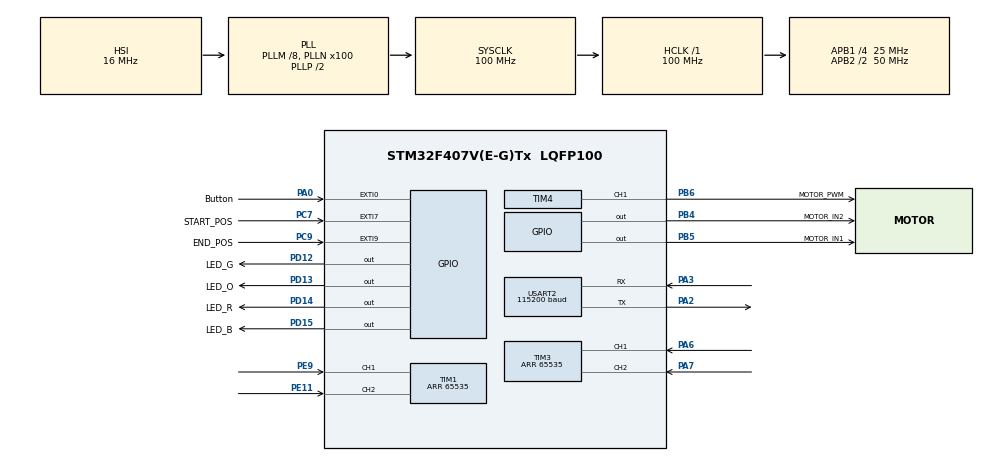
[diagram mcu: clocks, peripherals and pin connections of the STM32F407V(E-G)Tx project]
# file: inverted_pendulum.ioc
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Dma.Request0=TIM4_CH1
Dma.Request1=USART2_RX
Dma.Request2=USART2_TX
Dma.Request3=TIM3_CH4/UP
Dma.TIM3_CH4/UP.3.Direction=DMA_PERIPH_TO_MEMORY
Dma.TIM3_CH4/UP.3.FIFOMode=DMA_FIFOMODE_DISABLE
Dma.TIM3_CH4/UP.3.Instance=DMA1_Stream2
Dma.TIM3_CH4/UP.3.MemDataAlignment=DMA_MDATAALIGN_HALFWORD
Dma.TIM3_CH4/UP.3.MemInc=DMA_MINC_ENABLE
Dma.TIM3_CH4/UP.3.Mode=DMA_CIRCULAR
Dma.TIM3_CH4/UP.3.PeriphDataAlignment=DMA_PDATAALIGN_HALFWORD
Dma.TIM3_CH4/UP.3.PeriphInc=DMA_PINC_DISABLE
Dma.TIM3_CH4/UP.3.Priority=DMA_PRIORITY_VERY_HIGH
Dma.TIM4_CH1.0.Direction=DMA_MEMORY_TO_PERIPH
Dma.TIM4_CH1.0.FIFOMode=DMA_FIFOMODE_DISABLE
Dma.TIM4_CH1.0.Instance=DMA1_Stream0
Dma.TIM4_CH1.0.MemDataAlignment=DMA_MDATAALIGN_HALFWORD
Dma.TIM4_CH1.0.MemInc=DMA_MINC_ENABLE
Dma.TIM4_CH1.0.Mode=DMA_CIRCULAR
Dma.TIM4_CH1.0.PeriphDataAlignment=DMA_PDATAALIGN_HALFWORD
Dma.TIM4_CH1.0.PeriphInc=DMA_PINC_DISABLE
Dma.TIM4_CH1.0.Priority=DMA_PRIORITY_LOW
Dma.USART2_RX.1.Direction=DMA_PERIPH_TO_MEMORY
Dma.USART2_RX.1.FIFOMode=DMA_FIFOMODE_DISABLE
Dma.USART2_RX.1.Instance=DMA1_Stream5
Dma.USART2_RX.1.MemDataAlignment=DMA_MDATAALIGN_BYTE
Dma.USART2_RX.1.MemInc=DMA_MINC_ENABLE
Dma.USART2_RX.1.Mode=DMA_CIRCULAR
Dma.USART2_RX.1.PeriphDataAlignment=DMA_PDATAALIGN_BYTE
Dma.USART2_RX.1.PeriphInc=DMA_PINC_DISABLE
Dma.USART2_RX.1.Priority=DMA_PRIORITY_LOW
Dma.USART2_TX.2.Direction=DMA_MEMORY_TO_PERIPH
Dma.USART2_TX.2.FIFOMode=DMA_FIFOMODE_DISABLE
Dma.USART2_TX.2.Instance=DMA1_Stream6
Dma.USART2_TX.2.MemDataAlignment=DMA_MDATAALIGN_BYTE
Dma.USART2_TX.2.MemInc=DMA_MINC_ENABLE
Dma.USART2_TX.2.Mode=DMA_CIRCULAR
Dma.USART2_TX.2.PeriphDataAlignment=DMA_PDATAALIGN_BYTE
Dma.USART2_TX.2.PeriphInc=DMA_PINC_DISABLE
Dma.USART2_TX.2.Priority=DMA_PRIORITY_LOW
Mcu.Family=STM32F4
Mcu.Name=STM32F407V(E-G)Tx
Mcu.Package=LQFP100
NVIC.DMA1_Stream0_IRQn=true\:0\:0\:false\:false\:true\:false\:true
NVIC.DMA1_Stream2_IRQn=true\:0\:0\:false\:false\:true\:false\:true
NVIC.DMA1_Stream5_IRQn=true\:0\:0\:false\:false\:true\:false\:true
NVIC.DMA1_Stream6_IRQn=true\:0\:0\:false\:false\:true\:false\:true
NVIC.EXTI0_IRQn=true\:0\:0\:false\:false\:true\:true\:true
NVIC.EXTI9_5_IRQn=true\:0\:0\:false\:false\:true\:true\:true
NVIC.PriorityGroup=NVIC_PRIORITYGROUP_4
NVIC.TIM1_BRK_TIM9_IRQn=true\:0\:0\:false\:false\:true\:true\:true
NVIC.TIM1_TRG_COM_TIM11_IRQn=true\:0\:0\:false\:false\:true\:true\:true
NVIC.TIM1_UP_TIM10_IRQn=true\:0\:0\:false\:false\:true\:true\:true
NVIC.TIM4_IRQn=true\:0\:0\:false\:false\:true\:true\:true
NVIC.TIM6_DAC_IRQn=true\:0\:0\:false\:false\:true\:true\:true
NVIC.TIM8_UP_TIM13_IRQn=true\:0\:0\:false\:false\:true\:true\:true
NVIC.USART2_IRQn=true\:0\:0\:false\:false\:true\:true\:true
PA0-WKUP.GPIO_Label=Button
PA0-WKUP.GPIO_ModeDefaultEXTI=GPIO_MODE_IT_FALLING
PA0-WKUP.Signal=GPXTI0
PA2.Mode=Asynchronous
PA2.Signal=USART2_TX
PA3.Mode=Asynchronous
PA3.Signal=USART2_RX
PA6.GPIO_PuPd=GPIO_PULLUP
PA6.Signal=S_TIM3_CH1
PA7.GPIO_PuPd=GPIO_PULLUP
PA7.Signal=S_TIM3_CH2
PB4.GPIO_Label=MOTOR_IN2
PB4.Signal=GPIO_Output
PB5.GPIO_Label=MOTOR_IN1
PB5.Signal=GPIO_Output
PB6.GPIO_Label=MOTOR_PWM
PB6.GPIO_ModeDefaultPP=GPIO_MODE_AF_PP
PB6.Signal=S_TIM4_CH1
PC7.GPIO_Label=START_POS
PC7.GPIO_ModeDefaultEXTI=GPIO_MODE_IT_RISING
PC7.Signal=GPXTI7
PC9.GPIO_Label=END_POS
PC9.Signal=GPXTI9
PD12.GPIO_Label=LED_G
PD12.Signal=GPIO_Output
PD13.GPIO_Label=LED_O
PD13.Signal=GPIO_Output
PD14.GPIO_Label=LED_R
PD14.Signal=GPIO_Output
PD15.GPIO_Label=LED_B
PD15.Signal=GPIO_Output
PE11.Signal=S_TIM1_CH2
PE9.Signal=S_TIM1_CH1
PH0-OSC_IN.Mode=HSE-External-Oscillator
PH0-OSC_IN.Signal=RCC_OSC_IN
PH1-OSC_OUT.Mode=HSE-External-Oscillator
PH1-OSC_OUT.Signal=RCC_OSC_OUT
ProjectManager.HeapSize=0x200
ProjectManager.StackSize=0x400
ProjectManager.TargetToolchain=STM32CubeIDE
RCC.48MHZClocksFreq_Value=50000000
RCC.AHBFreq_Value=100000000
RCC.APB1CLKDivider=RCC_HCLK_DIV4
RCC.APB1Freq_Value=25000000
RCC.APB1TimFreq_Value=50000000
RCC.APB2CLKDivider=RCC_HCLK_DIV2
RCC.APB2Freq_Value=50000000
RCC.APB2TimFreq_Value=100000000
RCC.CortexFreq_Value=100000000
RCC.HCLKFreq_Value=100000000
RCC.HSE_VALUE=25000000
RCC.HSI_VALUE=16000000
RCC.LSE_VALUE=32768
RCC.PLLM=8
RCC.PLLN=100
RCC.SYSCLKFreq_VALUE=100000000
RCC.SYSCLKSource=RCC_SYSCLKSOURCE_PLLCLK
RCC.VCOOutputFreq_Value=200000000
SH.S_TIM1_CH1.0=TIM1_CH1,Encoder_Interface
SH.S_TIM1_CH2.0=TIM1_CH2,Encoder_Interface
SH.S_TIM3_CH1.0=TIM3_CH1,Encoder_Interface
SH.S_TIM3_CH2.0=TIM3_CH2,Encoder_Interface
SH.S_TIM4_CH1.0=TIM4_CH1,PWM Generation1 CH1
TIM1.EncoderMode=TIM_ENCODERMODE_TI12
TIM1.IC1Filter=0
TIM1.IC2Filter=0
TIM1.Period=65535
TIM10.Period=4999
TIM10.Prescaler=9999
TIM11.Period=4999
TIM11.Prescaler=999
TIM13.Period=49
TIM13.Prescaler=999
TIM3.EncoderMode=TIM_ENCODERMODE_TI12
TIM3.IC1Filter=15
TIM3.IC2Filter=15
TIM3.Period=65535
TIM4.Channel-PWM\ Generation1\ CH1=TIM_CHANNEL_1
TIM4.Period=99
TIM4.Prescaler=249
TIM6.Period=1999
TIM6.Prescaler=999
USART2.BaudRate=115200
USART2.VirtualMode=VM_ASYNC
VP_TIM10_VS_ClockSourceINT.Mode=Enable_Timer
VP_TIM11_VS_ClockSourceINT.Mode=Enable_Timer
VP_TIM13_VS_ClockSourceINT.Mode=Enable_Timer
VP_TIM4_VS_ClockSourceINT.Mode=Internal
VP_TIM6_VS_ClockSourceINT.Mode=Enable_Timer
board=custom

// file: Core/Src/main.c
/* USER CODE BEGIN Header */
/**
  ******************************************************************************
  * @file           : main.c
  * @brief          : Main program body
  ******************************************************************************
  * @attention
  *
  * <h2><center>&copy; Copyright (c) 2020 STMicroelectronics.
  * All rights reserved.</center></h2>
  *
  * This software component is licensed by ST under BSD 3-Clause license,
  * the "License"; You may not use this file except in compliance with the
  * License. You may obtain a copy of the License at:
  *                        opensource.org/licenses/BSD-3-Clause
  *
  ******************************************************************************
  */
/* USER CODE END Header */
#include "main.h"

/* USER CODE BEGIN Includes */
#include "pid.h"
#include "stdio.h"
#include "string.h"
/* USER CODE END Includes */

/* USER CODE BEGIN PD */
#define PI 3.14159265358979323846
#define POSITION_RATIO 64.0*19.0/25.7/PI
#define MAX_CART_POS 433
#define CART_SIZE 32

/* USER CODE END PD */

TIM_HandleTypeDef htim1;
TIM_HandleTypeDef htim3;
TIM_HandleTypeDef htim4;
TIM_HandleTypeDef htim6;
TIM_HandleTypeDef htim10;
TIM_HandleTypeDef htim11;
TIM_HandleTypeDef htim13;
DMA_HandleTypeDef hdma_tim3_ch4_up;
DMA_HandleTypeDef hdma_tim4_ch1;

UART_HandleTypeDef huart2;
DMA_HandleTypeDef hdma_usart2_rx;
DMA_HandleTypeDef hdma_usart2_tx;

/* USER CODE BEGIN PV */

uint8_t START_POSITION_FLAG = 0;
uint8_t END_POSITION_FLAG = 0;
uint8_t START_BALANCING = 0;
uint8_t LED_FLAG = 0;
uint8_t MOTOR_FLAG = 0;
uint8_t FLAG_READY = 0;
uint8_t MOTOR_PID_FLAG = 0;
uint8_t PWM_FLAG = 0;
uint8_t ERROR_FLAG = 0;
uint8_t PENDULUM_PID_FLAG = 0;

volatile int16_t pendulum_pulse_count = 0;
double alpha = 0;

volatile int16_t motor_pulse_count = 0;
volatile int16_t cart_position = 0;

uint32_t timer_1 = 0;
uint32_t timer_2 = 0;

uint16_t motor_pwm_duty = 0;
uint16_t cart_dest = 0;
uint16_t size = 0;

cpid_t motor_pid;
cpid_t pendulum_pid;

volatile int16_t motor_pid_controll = 0;
volatile int16_t pendulum_pid_controll = 0;
volatile int16_t pid_controll = 0;

double filter = 0;

int16_t prev_speed = 0;

double wsp1 = 0.5;

char buf[70] = {0};

int32_t pData1 = 0;
int32_t pData2 = 0;

/* USER CODE END PV */

void SystemClock_Config(void);
static void MX_GPIO_Init(void);
static void MX_DMA_Init(void);
static void MX_TIM4_Init(void);
static void MX_TIM1_Init(void);
static void MX_TIM3_Init(void);
static void MX_TIM10_Init(void);
static void MX_TIM11_Init(void);
static void MX_TIM13_Init(void);
static void MX_USART2_UART_Init(void);
static void MX_TIM6_Init(void);
/* USER CODE BEGIN PFP */

/* Interrupts */
void HAL_GPIO_EXTI_Callback(uint16_t GPIO_Pin){
	if(GPIO_Pin == START_POS_Pin){
		START_POSITION_FLAG=1;
	}
	else if(GPIO_Pin == END_POS_Pin){
		END_POSITION_FLAG=1;
	}
	else if(GPIO_Pin == Button_Pin){
		START_BALANCING = 1;
	}
}

void HAL_TIM_PeriodElapsedCallback(TIM_HandleTypeDef *htim){
	if(htim==&htim10){
		LED_FLAG = 1;
	}
//	else if(htim==&htim11){
//		MOTOR_PID_FLAG = 1;
//	}
	else if(htim==&htim13){
		PWM_FLAG = 1;
		PENDULUM_PID_FLAG = 1;
		MOTOR_PID_FLAG = 1;
	}
//	else if(htim==&htim6){
//		PENDULUM_PID_FLAG = 1;
//	}
}

void parse(){
	char header[2];
	double _p=0.0, _i=0.0, _d=0.0, _x=0.0, _y=0.0, _z=0.0;
	sscanf(buf, "%s %lf %lf %lf %lf %lf %lf", &header, &_p, &_i, &_d, &_x, &_y, &_z);
	if(!strcmp(header, "P")){
		if(_p>=0.0 && _p<=50.0) pendulum_pid.p = _p;
		if(_i>=0.0 && _i<=50.0) pendulum_pid.i = _i;
		if(_d>=0.0 && _d<=50.0) pendulum_pid.d = _d;
		if(_x>=0.0 && _x<=50.0) motor_pid.p = _x;
		if(_y>=0.0 && _y<=50.0) motor_pid.d = _y;
		if(_y>=0.0 && _y<=10.0) wsp1 = _z;
	}
	else if(!strcmp(header, "S")){
		TIM3->CNT = 0;
	}
}

void HAL_UART_RxCpltCallback(UART_HandleTypeDef *huart){
	uint16_t size = 0;
	uint8_t data[100];
	parse();
	size = sprintf(data, "{\"mp\":%.2f,\"mi\":%.2f,\"md\":%.2f,\"pp\":%.2f,\"pd\":%.2f,\"wsp\":%.2f}", pendulum_pid.p, pendulum_pid.i, pendulum_pid.d, motor_pid.p, motor_pid.d, wsp1);
	HAL_UART_Transmit_IT(&huart2, data, size);
	HAL_UART_Receive_IT(&huart2, &buf, 37);
}

uint16_t ramp(uint16_t dest){
	int16_t ramp_duty = 0;
	//if(dest > 0 && dest < 27 ) dest = 27;
	if(dest/5 == motor_pwm_duty/5) return motor_pwm_duty;
	else{
		if(dest > motor_pwm_duty){
			ramp_duty=motor_pwm_duty+5;
			if(ramp_duty>=100) return 100;
			else return ramp_duty;
		}
		else{
			ramp_duty=motor_pwm_duty-5;
			if(ramp_duty<=0) return 0;
			else return ramp_duty;
		}
	}
}

void motor_speed(int16_t speed){
	if(speed * prev_speed < 0)
		motor_pwm_duty=ramp(0);
	else{
		if(speed < 0){
			if(cart_position > 5){
				if(cart_position > 30){
					HAL_GPIO_WritePin(MOTOR_IN1_GPIO_Port, MOTOR_IN1_Pin, GPIO_PIN_RESET);
					HAL_GPIO_WritePin(MOTOR_IN2_GPIO_Port, MOTOR_IN2_Pin, GPIO_PIN_SET);
					motor_pwm_duty=ramp(-speed);
				}
				else{
					HAL_GPIO_WritePin(MOTOR_IN1_GPIO_Port, MOTOR_IN1_Pin, GPIO_PIN_SET);
					HAL_GPIO_WritePin(MOTOR_IN2_GPIO_Port, MOTOR_IN2_Pin, GPIO_PIN_SET);
					motor_pwm_duty=100;
				}
			}
			else{
				HAL_GPIO_WritePin(MOTOR_IN1_GPIO_Port, MOTOR_IN1_Pin, GPIO_PIN_RESET);
				HAL_GPIO_WritePin(MOTOR_IN2_GPIO_Port, MOTOR_IN2_Pin, GPIO_PIN_RESET);
				motor_pwm_duty = 100;
			}
		}
		else if(speed > 0){
			if(cart_position < 428){
				if(cart_position < 400){
					HAL_GPIO_WritePin(MOTOR_IN1_GPIO_Port, MOTOR_IN1_Pin, GPIO_PIN_SET);
					HAL_GPIO_WritePin(MOTOR_IN2_GPIO_Port, MOTOR_IN2_Pin, GPIO_PIN_RESET);
					motor_pwm_duty=ramp(speed);
				}
				else{
					HAL_GPIO_WritePin(MOTOR_IN1_GPIO_Port, MOTOR_IN1_Pin, GPIO_PIN_SET);
					HAL_GPIO_WritePin(MOTOR_IN2_GPIO_Port, MOTOR_IN2_Pin, GPIO_PIN_SET);
					motor_pwm_duty=100;
				}
			}
			else{
				HAL_GPIO_WritePin(MOTOR_IN1_GPIO_Port, MOTOR_IN1_Pin, GPIO_PIN_RESET);
				HAL_GPIO_WritePin(MOTOR_IN2_GPIO_Port, MOTOR_IN2_Pin, GPIO_PIN_RESET);
				motor_pwm_duty = 100;
			}
		}
		else{
			motor_pwm_duty = ramp(0);
		}
	}
	prev_speed = speed;
}

void motor_stop(){
	HAL_GPIO_WritePin(MOTOR_IN1_GPIO_Port, MOTOR_IN1_Pin, GPIO_PIN_RESET);
	HAL_GPIO_WritePin(MOTOR_IN2_GPIO_Port, MOTOR_IN2_Pin, GPIO_PIN_RESET);
	motor_pwm_duty=0;
}

void motor_init(){
	HAL_GPIO_WritePin(MOTOR_IN1_GPIO_Port, MOTOR_IN1_Pin, GPIO_PIN_SET);
	HAL_GPIO_WritePin(MOTOR_IN2_GPIO_Port, MOTOR_IN2_Pin, GPIO_PIN_RESET);
	motor_pwm_duty=60;
	HAL_Delay(100);
	HAL_GPIO_WritePin(MOTOR_IN1_GPIO_Port, MOTOR_IN1_Pin, GPIO_PIN_RESET);
	HAL_GPIO_WritePin(MOTOR_IN2_GPIO_Port, MOTOR_IN2_Pin, GPIO_PIN_SET);
	motor_pwm_duty=35;
}

/* USER CODE END PFP */

int main(void)
{

  /* MCU Configuration--------------------------------------------------------*/

  /* Reset of all peripherals, Initializes the Flash interface and the Systick. */
  HAL_Init();

  /* Configure the system clock */
  SystemClock_Config();

  /* Initialize all configured peripherals */
  MX_GPIO_Init();
  MX_DMA_Init();
  MX_TIM4_Init();
  MX_TIM1_Init();
  MX_TIM3_Init();
  MX_TIM10_Init();
  MX_TIM11_Init();
  MX_TIM13_Init();
  MX_USART2_UART_Init();
  MX_TIM6_Init();
  /* USER CODE BEGIN 2 */

  HAL_TIM_Encoder_Start(&htim1, TIM_CHANNEL_ALL);
  HAL_TIM_Encoder_Start(&htim3, TIM_CHANNEL_ALL);
  //HAL_TIM_Encoder_Start_DMA(&htim3, TIM_CHANNEL_ALL, pData1, pData2, 2);

  HAL_TIM_Base_Start_IT(&htim10);
  HAL_TIM_Base_Start_IT(&htim11);
  HAL_TIM_Base_Start_IT(&htim13);
  HAL_TIM_Base_Start_IT(&htim6);

  HAL_TIM_PWM_Start_DMA(&htim4, TIM_CHANNEL_1, &motor_pwm_duty, 1);

  motor_init();

	pid_init(&motor_pid, 16.5, 0.0, 1.0, 1);
	motor_pid.p_max = 4095;
	motor_pid.p_min = -4095;
	motor_pid.i_max = 4095;
	motor_pid.i_min = -4095;
	motor_pid.d_max = 4095;
	motor_pid.d_min = -4095;
	motor_pid.total_max = 100;
	motor_pid.total_min = -100;

	pid_init(&pendulum_pid, 44.f, 10.0, 1.2f, 1);
	pendulum_pid.p_max = 4095;
	pendulum_pid.p_min = -4095;
	pendulum_pid.i_max = 4095;
	pendulum_pid.i_min = -4095;
	pendulum_pid.d_max = 4095;
	pendulum_pid.d_min = -4095;
	pendulum_pid.total_max = 100;
	pendulum_pid.total_min = -100;

	HAL_UART_Receive_IT(&huart2, buf, 37);

  /* USER CODE END 2 */

  /* Infinite loop */
  /* USER CODE BEGIN WHILE */
  while (1)
  {
	 // if(HAL_GetTick()<1000) cycle++;
    /* USER CODE END WHILE */

    /* USER CODE BEGIN 3 */

	  pendulum_pulse_count = TIM3->CNT;
	  alpha = 180-pendulum_pulse_count*360.0/1600.0;

	  motor_pulse_count = TIM1->CNT;
	  cart_position = -motor_pulse_count/64.0/19.0*25.7*PI;

	  if(LED_FLAG && !ERROR_FLAG){
		  HAL_GPIO_TogglePin(LED_B_GPIO_Port, LED_B_Pin);
		  LED_FLAG = 0;
	  }

	  if(LED_FLAG && ERROR_FLAG){
		  HAL_GPIO_WritePin(LED_B_GPIO_Port, LED_B_Pin, GPIO_PIN_RESET);
		  HAL_GPIO_TogglePin(LED_R_GPIO_Port, LED_R_Pin);
		  LED_FLAG = 0;
	  }

	  if(START_POSITION_FLAG && !FLAG_READY){
		  motor_stop();
		  TIM1->CNT=0;
		  START_POSITION_FLAG=0;
	  }

	  if(END_POSITION_FLAG && !FLAG_READY){
		  END_POSITION_FLAG=0;
	  }

	  if((START_POSITION_FLAG || END_POSITION_FLAG) && FLAG_READY){
		  motor_stop();
		  ERROR_FLAG = 1;
		  START_POSITION_FLAG=0;
		  END_POSITION_FLAG=0;
	  }

	  if(FLAG_READY){
		  if(PWM_FLAG){
			  PWM_FLAG=0;
			  pid_controll = pendulum_pid_controll-wsp1*motor_pid_controll;
			  motor_speed(pid_controll);
		  }
		  if(PENDULUM_PID_FLAG){
			  PENDULUM_PID_FLAG=0;
			  pendulum_pid_controll = -pid_calc(&pendulum_pid, pendulum_pulse_count, 800);
		  }
		  if(MOTOR_PID_FLAG){
			  motor_pid_controll = pid_calc(&motor_pid, cart_position, 215);
			  MOTOR_PID_FLAG=0;
		  }
	  }

	  if(START_BALANCING){

		  HAL_Delay(50);
		  if(!FLAG_READY){
			  FLAG_READY=1;
		  }
		  else{
			  FLAG_READY=0;
			  motor_stop();
		  }
		  START_BALANCING=0;
	  }
  }
  /* USER CODE END 3 */
}

void SystemClock_Config(void)
{
  RCC_OscInitTypeDef RCC_OscInitStruct = {0};
  RCC_ClkInitTypeDef RCC_ClkInitStruct = {0};

  /** Configure the main internal regulator output voltage
  */
  __HAL_RCC_PWR_CLK_ENABLE();
  __HAL_PWR_VOLTAGESCALING_CONFIG(PWR_REGULATOR_VOLTAGE_SCALE1);
  /** Initializes the RCC Oscillators according to the specified parameters
  * in the RCC_OscInitTypeDef structure.
  */
  RCC_OscInitStruct.OscillatorType = RCC_OSCILLATORTYPE_HSI;
  RCC_OscInitStruct.HSIState = RCC_HSI_ON;
  RCC_OscInitStruct.HSICalibrationValue = RCC_HSICALIBRATION_DEFAULT;
  RCC_OscInitStruct.PLL.PLLState = RCC_PLL_ON;
  RCC_OscInitStruct.PLL.PLLSource = RCC_PLLSOURCE_HSI;
  RCC_OscInitStruct.PLL.PLLM = 8;
  RCC_OscInitStruct.PLL.PLLN = 100;
  RCC_OscInitStruct.PLL.PLLP = RCC_PLLP_DIV2;
  RCC_OscInitStruct.PLL.PLLQ = 4;
  if (HAL_RCC_OscConfig(&RCC_OscInitStruct) != HAL_OK)
  {
    Error_Handler();
  }
  /** Initializes the CPU, AHB and APB buses clocks
  */
  RCC_ClkInitStruct.ClockType = RCC_CLOCKTYPE_HCLK|RCC_CLOCKTYPE_SYSCLK
                              |RCC_CLOCKTYPE_PCLK1|RCC_CLOCKTYPE_PCLK2;
  RCC_ClkInitStruct.SYSCLKSource = RCC_SYSCLKSOURCE_PLLCLK;
  RCC_ClkInitStruct.AHBCLKDivider = RCC_SYSCLK_DIV1;
  RCC_ClkInitStruct.APB1CLKDivider = RCC_HCLK_DIV4;
  RCC_ClkInitStruct.APB2CLKDivider = RCC_HCLK_DIV2;

  if (HAL_RCC_ClockConfig(&RCC_ClkInitStruct, FLASH_LATENCY_3) != HAL_OK)
  {
    Error_Handler();
  }
}

static void MX_TIM1_Init(void)
{

  TIM_Encoder_InitTypeDef sConfig = {0};
  TIM_MasterConfigTypeDef sMasterConfig = {0};

  htim1.Instance = TIM1;
  htim1.Init.Prescaler = 0;
  htim1.Init.CounterMode = TIM_COUNTERMODE_UP;
  htim1.Init.Period = 65535;
  htim1.Init.ClockDivision = TIM_CLOCKDIVISION_DIV1;
  htim1.Init.RepetitionCounter = 0;
  htim1.Init.AutoReloadPreload = TIM_AUTORELOAD_PRELOAD_DISABLE;
  sConfig.EncoderMode = TIM_ENCODERMODE_TI12;
  sConfig.IC1Polarity = TIM_ICPOLARITY_RISING;
  sConfig.IC1Selection = TIM_ICSELECTION_DIRECTTI;
  sConfig.IC1Prescaler = TIM_ICPSC_DIV1;
  sConfig.IC1Filter = 0;
  sConfig.IC2Polarity = TIM_ICPOLARITY_RISING;
  sConfig.IC2Selection = TIM_ICSELECTION_DIRECTTI;
  sConfig.IC2Prescaler = TIM_ICPSC_DIV1;
  sConfig.IC2Filter = 0;
  if (HAL_TIM_Encoder_Init(&htim1, &sConfig) != HAL_OK)
  {
    Error_Handler();
  }
  sMasterConfig.MasterOutputTrigger = TIM_TRGO_RESET;
  sMasterConfig.MasterSlaveMode = TIM_MASTERSLAVEMODE_DISABLE;
  if (HAL_TIMEx_MasterConfigSynchronization(&htim1, &sMasterConfig) != HAL_OK)
  {
    Error_Handler();
  }

}

static void MX_TIM3_Init(void)
{

  TIM_Encoder_InitTypeDef sConfig = {0};
  TIM_MasterConfigTypeDef sMasterConfig = {0};

  htim3.Instance = TIM3;
  htim3.Init.Prescaler = 0;
  htim3.Init.CounterMode = TIM_COUNTERMODE_UP;
  htim3.Init.Period = 65535;
  htim3.Init.ClockDivision = TIM_CLOCKDIVISION_DIV1;
  htim3.Init.AutoReloadPreload = TIM_AUTORELOAD_PRELOAD_DISABLE;
  sConfig.EncoderMode = TIM_ENCODERMODE_TI12;
  sConfig.IC1Polarity = TIM_ICPOLARITY_RISING;
  sConfig.IC1Selection = TIM_ICSELECTION_DIRECTTI;
  sConfig.IC1Prescaler = TIM_ICPSC_DIV1;
  sConfig.IC1Filter = 15;
  sConfig.IC2Polarity = TIM_ICPOLARITY_RISING;
  sConfig.IC2Selection = TIM_ICSELECTION_DIRECTTI;
  sConfig.IC2Prescaler = TIM_ICPSC_DIV1;
  sConfig.IC2Filter = 15;
  if (HAL_TIM_Encoder_Init(&htim3, &sConfig) != HAL_OK)
  {
    Error_Handler();
  }
  sMasterConfig.MasterOutputTrigger = TIM_TRGO_RESET;
  sMasterConfig.MasterSlaveMode = TIM_MASTERSLAVEMODE_DISABLE;
  if (HAL_TIMEx_MasterConfigSynchronization(&htim3, &sMasterConfig) != HAL_OK)
  {
    Error_Handler();
  }

}

static void MX_TIM4_Init(void)
{

  TIM_ClockConfigTypeDef sClockSourceConfig = {0};
  TIM_MasterConfigTypeDef sMasterConfig = {0};
  TIM_OC_InitTypeDef sConfigOC = {0};

  htim4.Instance = TIM4;
  htim4.Init.Prescaler = 249;
  htim4.Init.CounterMode = TIM_COUNTERMODE_UP;
  htim4.Init.Period = 99;
  htim4.Init.ClockDivision = TIM_CLOCKDIVISION_DIV1;
  htim4.Init.AutoReloadPreload = TIM_AUTORELOAD_PRELOAD_DISABLE;
  if (HAL_TIM_Base_Init(&htim4) != HAL_OK)
  {
    Error_Handler();
  }
  sClockSourceConfig.ClockSource = TIM_CLOCKSOURCE_INTERNAL;
  if (HAL_TIM_ConfigClockSource(&htim4, &sClockSourceConfig) != HAL_OK)
  {
    Error_Handler();
  }
  if (HAL_TIM_PWM_Init(&htim4) != HAL_OK)
  {
    Error_Handler();
  }
  sMasterConfig.MasterOutputTrigger = TIM_TRGO_RESET;
  sMasterConfig.MasterSlaveMode = TIM_MASTERSLAVEMODE_DISABLE;
  if (HAL_TIMEx_MasterConfigSynchronization(&htim4, &sMasterConfig) != HAL_OK)
  {
    Error_Handler();
  }
  sConfigOC.OCMode = TIM_OCMODE_PWM1;
  sConfigOC.Pulse = 0;
  sConfigOC.OCPolarity = TIM_OCPOLARITY_HIGH;
  sConfigOC.OCFastMode = TIM_OCFAST_DISABLE;
  if (HAL_TIM_PWM_ConfigChannel(&htim4, &sConfigOC, TIM_CHANNEL_1) != HAL_OK)
  {
    Error_Handler();
  }
  HAL_TIM_MspPostInit(&htim4);

}

static void MX_TIM6_Init(void)
{

  TIM_MasterConfigTypeDef sMasterConfig = {0};

  htim6.Instance = TIM6;
  htim6.Init.Prescaler = 999;
  htim6.Init.CounterMode = TIM_COUNTERMODE_UP;
  htim6.Init.Period = 1999;
  htim6.Init.AutoReloadPreload = TIM_AUTORELOAD_PRELOAD_DISABLE;
  if (HAL_TIM_Base_Init(&htim6) != HAL_OK)
  {
    Error_Handler();
  }
  sMasterConfig.MasterOutputTrigger = TIM_TRGO_RESET;
  sMasterConfig.MasterSlaveMode = TIM_MASTERSLAVEMODE_DISABLE;
  if (HAL_TIMEx_MasterConfigSynchronization(&htim6, &sMasterConfig) != HAL_OK)
  {
    Error_Handler();
  }

}

static void MX_TIM10_Init(void)
{

  htim10.Instance = TIM10;
  htim10.Init.Prescaler = 9999;
  htim10.Init.CounterMode = TIM_COUNTERMODE_UP;
  htim10.Init.Period = 4999;
  htim10.Init.ClockDivision = TIM_CLOCKDIVISION_DIV1;
  htim10.Init.AutoReloadPreload = TIM_AUTORELOAD_PRELOAD_DISABLE;
  if (HAL_TIM_Base_Init(&htim10) != HAL_OK)
  {
    Error_Handler();
  }

}

static void MX_TIM11_Init(void)
{

  htim11.Instance = TIM11;
  htim11.Init.Prescaler = 999;
  htim11.Init.CounterMode = TIM_COUNTERMODE_UP;
  htim11.Init.Period = 4999;
  htim11.Init.ClockDivision = TIM_CLOCKDIVISION_DIV1;
  htim11.Init.AutoReloadPreload = TIM_AUTORELOAD_PRELOAD_DISABLE;
  if (HAL_TIM_Base_Init(&htim11) != HAL_OK)
  {
    Error_Handler();
  }

}

static void MX_TIM13_Init(void)
{

  htim13.Instance = TIM13;
  htim13.Init.Prescaler = 999;
  htim13.Init.CounterMode = TIM_COUNTERMODE_UP;
  htim13.Init.Period = 49;
  htim13.Init.ClockDivision = TIM_CLOCKDIVISION_DIV1;
  htim13.Init.AutoReloadPreload = TIM_AUTORELOAD_PRELOAD_DISABLE;
  if (HAL_TIM_Base_Init(&htim13) != HAL_OK)
  {
    Error_Handler();
  }

}

static void MX_USART2_UART_Init(void)
{

  huart2.Instance = USART2;
  huart2.Init.BaudRate = 115200;
  huart2.Init.WordLength = UART_WORDLENGTH_8B;
  huart2.Init.StopBits = UART_STOPBITS_1;
  huart2.Init.Parity = UART_PARITY_NONE;
  huart2.Init.Mode = UART_MODE_TX_RX;
  huart2.Init.HwFlowCtl = UART_HWCONTROL_NONE;
  huart2.Init.OverSampling = UART_OVERSAMPLING_16;
  if (HAL_UART_Init(&huart2) != HAL_OK)
  {
    Error_Handler();
  }

}

static void MX_DMA_Init(void)
{

  /* DMA controller clock enable */
  __HAL_RCC_DMA1_CLK_ENABLE();

  /* DMA interrupt init */
  /* DMA1_Stream0_IRQn interrupt configuration */
  HAL_NVIC_SetPriority(DMA1_Stream0_IRQn, 0, 0);
  HAL_NVIC_EnableIRQ(DMA1_Stream0_IRQn);
  /* DMA1_Stream2_IRQn interrupt configuration */
  HAL_NVIC_SetPriority(DMA1_Stream2_IRQn, 0, 0);
  HAL_NVIC_EnableIRQ(DMA1_Stream2_IRQn);
  /* DMA1_Stream5_IRQn interrupt configuration */
  HAL_NVIC_SetPriority(DMA1_Stream5_IRQn, 0, 0);
  HAL_NVIC_EnableIRQ(DMA1_Stream5_IRQn);
  /* DMA1_Stream6_IRQn interrupt configuration */
  HAL_NVIC_SetPriority(DMA1_Stream6_IRQn, 0, 0);
  HAL_NVIC_EnableIRQ(DMA1_Stream6_IRQn);

}

static void MX_GPIO_Init(void)
{
  GPIO_InitTypeDef GPIO_InitStruct = {0};

  /* GPIO Ports Clock Enable */
  __HAL_RCC_GPIOH_CLK_ENABLE();
  __HAL_RCC_GPIOA_CLK_ENABLE();
  __HAL_RCC_GPIOE_CLK_ENABLE();
  __HAL_RCC_GPIOD_CLK_ENABLE();
  __HAL_RCC_GPIOC_CLK_ENABLE();
  __HAL_RCC_GPIOB_CLK_ENABLE();

  /*Configure GPIO pin Output Level */
  HAL_GPIO_WritePin(GPIOD, LED_G_Pin|LED_O_Pin|LED_R_Pin|LED_B_Pin, GPIO_PIN_RESET);

  /*Configure GPIO pin Output Level */
  HAL_GPIO_WritePin(GPIOB, MOTOR_IN2_Pin|MOTOR_IN1_Pin, GPIO_PIN_RESET);

  /*Configure GPIO pin : Button_Pin */
  GPIO_InitStruct.Pin = Button_Pin;
  GPIO_InitStruct.Mode = GPIO_MODE_IT_FALLING;
  GPIO_InitStruct.Pull = GPIO_NOPULL;
  HAL_GPIO_Init(Button_GPIO_Port, &GPIO_InitStruct);

  /*Configure GPIO pins : LED_G_Pin LED_O_Pin LED_R_Pin LED_B_Pin */
  GPIO_InitStruct.Pin = LED_G_Pin|LED_O_Pin|LED_R_Pin|LED_B_Pin;
  GPIO_InitStruct.Mode = GPIO_MODE_OUTPUT_PP;
  GPIO_InitStruct.Pull = GPIO_NOPULL;
  GPIO_InitStruct.Speed = GPIO_SPEED_FREQ_LOW;
  HAL_GPIO_Init(GPIOD, &GPIO_InitStruct);

  /*Configure GPIO pins : START_POS_Pin END_POS_Pin */
  GPIO_InitStruct.Pin = START_POS_Pin|END_POS_Pin;
  GPIO_InitStruct.Mode = GPIO_MODE_IT_RISING;
  GPIO_InitStruct.Pull = GPIO_NOPULL;
  HAL_GPIO_Init(GPIOC, &GPIO_InitStruct);

  /*Configure GPIO pins : MOTOR_IN2_Pin MOTOR_IN1_Pin */
  GPIO_InitStruct.Pin = MOTOR_IN2_Pin|MOTOR_IN1_Pin;
  GPIO_InitStruct.Mode = GPIO_MODE_OUTPUT_PP;
  GPIO_InitStruct.Pull = GPIO_NOPULL;
  GPIO_InitStruct.Speed = GPIO_SPEED_FREQ_LOW;
  HAL_GPIO_Init(GPIOB, &GPIO_InitStruct);

  /* EXTI interrupt init*/
  HAL_NVIC_SetPriority(EXTI0_IRQn, 0, 0);
  HAL_NVIC_EnableIRQ(EXTI0_IRQn);

  HAL_NVIC_SetPriority(EXTI9_5_IRQn, 0, 0);
  HAL_NVIC_EnableIRQ(EXTI9_5_IRQn);

}

void Error_Handler(void)
{
}

/************************ (C) COPYRIGHT STMicroelectronics *****END OF FILE****/
